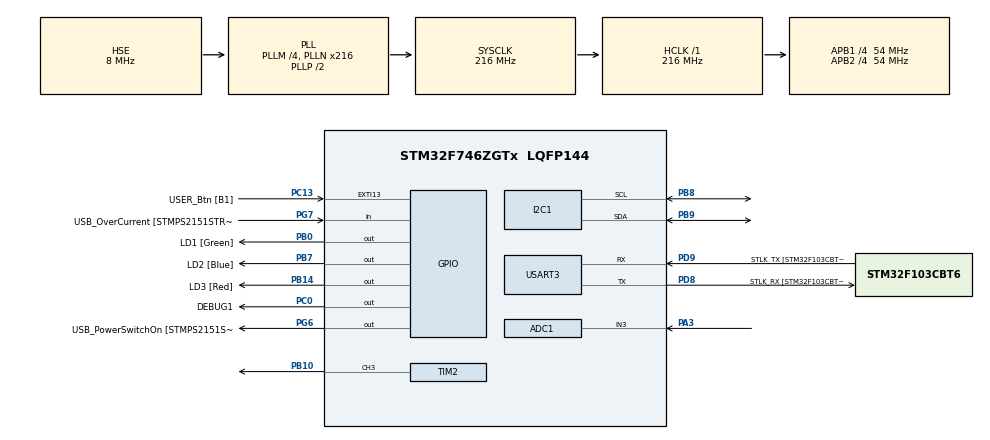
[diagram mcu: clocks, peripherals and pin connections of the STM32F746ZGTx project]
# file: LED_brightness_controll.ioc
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ADC1.Channel-0\#ChannelRegularConversion=ADC_CHANNEL_3
ADC1.NbrOfConversionFlag=1
ADC1.Rank-0\#ChannelRegularConversion=1
ADC1.SamplingTime-0\#ChannelRegularConversion=ADC_SAMPLETIME_480CYCLES
ADC1.master=1
Dma.Request0=USART3_TX
Dma.USART3_TX.0.Direction=DMA_MEMORY_TO_PERIPH
Dma.USART3_TX.0.FIFOMode=DMA_FIFOMODE_DISABLE
Dma.USART3_TX.0.Instance=DMA1_Stream3
Dma.USART3_TX.0.MemDataAlignment=DMA_MDATAALIGN_BYTE
Dma.USART3_TX.0.MemInc=DMA_MINC_ENABLE
Dma.USART3_TX.0.Mode=DMA_NORMAL
Dma.USART3_TX.0.PeriphDataAlignment=DMA_PDATAALIGN_BYTE
Dma.USART3_TX.0.PeriphInc=DMA_PINC_DISABLE
Dma.USART3_TX.0.Priority=DMA_PRIORITY_LOW
I2C1.Timing=0x20404768
Mcu.Family=STM32F7
Mcu.Name=STM32F746ZGTx
Mcu.Package=LQFP144
NVIC.ADC_IRQn=true\:0\:0\:false\:false\:true\:true\:true\:true
NVIC.DMA1_Stream3_IRQn=true\:0\:0\:false\:false\:true\:false\:true\:true
NVIC.PriorityGroup=NVIC_PRIORITYGROUP_4
NVIC.TIM2_IRQn=true\:0\:0\:false\:false\:true\:true\:true\:true
NVIC.USART3_IRQn=true\:0\:0\:false\:false\:true\:true\:true\:true
PA1.GPIO_Label=RMII_REF_CLK [LAN8742A-CZ-TR_REFCLK0]
PA1.Signal=ETH_REF_CLK
PA10.GPIO_Label=USB_ID
PA10.Signal=USB_OTG_FS_ID
PA11.GPIO_Label=USB_DM
PA11.Signal=USB_OTG_FS_DM
PA12.GPIO_Label=USB_DP
PA12.Signal=USB_OTG_FS_DP
PA13.GPIO_Label=TMS
PA13.Mode=Serial_Wire
PA13.Signal=SYS_JTMS-SWDIO
PA14.GPIO_Label=TCK
PA14.Mode=Serial_Wire
PA14.Signal=SYS_JTCK-SWCLK
PA2.GPIO_Label=RMII_MDIO [LAN8742A-CZ-TR_MDIO]
PA2.Signal=ETH_MDIO
PA3.Signal=ADCx_IN3
PA7.GPIO_Label=RMII_CRS_DV [LAN8742A-CZ-TR_CRS_DV]
PA7.Signal=ETH_CRS_DV
PA8.GPIO_Label=USB_SOF [TP1]
PA8.Signal=USB_OTG_FS_SOF
PA9.GPIO_Label=USB_VBUS
PA9.Signal=USB_OTG_FS_VBUS
PB0.GPIO_Label=LD1 [Green]
PB0.Signal=GPIO_Output
PB10.Signal=S_TIM2_CH3
PB13.GPIO_Label=RMII_TXD1 [LAN8742A-CZ-TR_TXD1]
PB13.Signal=ETH_TXD1
PB14.GPIO_Label=LD3 [Red]
PB14.Signal=GPIO_Output
PB3.GPIO_Label=SW0
PB3.Signal=SYS_JTDO-SWO
PB7.GPIO_Label=LD2 [Blue]
PB7.Signal=GPIO_Output
PB8.Mode=I2C
PB8.Signal=I2C1_SCL
PB9.Mode=I2C
PB9.Signal=I2C1_SDA
PC0.GPIO_Label=DEBUG1
PC0.GPIO_Speed=GPIO_SPEED_FREQ_VERY_HIGH
PC0.Signal=GPIO_Output
PC1.GPIO_Label=RMII_MDC [LAN8742A-CZ-TR_MDC]
PC1.Signal=ETH_MDC
PC13.GPIO_Label=USER_Btn [B1]
PC13.Signal=GPXTI13
PC14/OSC32_IN.Mode=LSE-External-Oscillator
PC14/OSC32_IN.Signal=RCC_OSC32_IN
PC15/OSC32_OUT.Mode=LSE-External-Oscillator
PC15/OSC32_OUT.Signal=RCC_OSC32_OUT
PC4.GPIO_Label=RMII_RXD0 [LAN8742A-CZ-TR_RXD0]
PC4.Signal=ETH_RXD0
PC5.GPIO_Label=RMII_RXD1 [LAN8742A-CZ-TR_RXD1]
PC5.Signal=ETH_RXD1
PD8.GPIO_Label=STLK_RX [STM32F103CBT6_PA3]
PD8.GPIO_PuPd=GPIO_PULLUP
PD8.Mode=Asynchronous
PD8.Signal=USART3_TX
PD9.GPIO_Label=STLK_TX [STM32F103CBT6_PA2]
PD9.GPIO_PuPd=GPIO_PULLUP
PD9.Mode=Asynchronous
PD9.Signal=USART3_RX
PG11.GPIO_Label=RMII_TX_EN [LAN8742A-CZ-TR_TXEN]
PG11.Signal=ETH_TX_EN
PG13.GPIO_Label=RMII_TXD0 [LAN8742A-CZ-TR_TXD0]
PG13.Signal=ETH_TXD0
PG6.GPIO_Label=USB_PowerSwitchOn [STMPS2151STR_EN]
PG6.Signal=GPIO_Output
PG7.GPIO_Label=USB_OverCurrent [STMPS2151STR_FAULT]
PG7.Signal=GPIO_Input
PH0/OSC_IN.GPIO_Label=MCO [STM32F103CBT6_PA8]
PH0/OSC_IN.Mode=HSE-External-Clock-Source
PH0/OSC_IN.Signal=RCC_OSC_IN
PH1/OSC_OUT.Mode=HSE-External-Clock-Source
PH1/OSC_OUT.Signal=RCC_OSC_OUT
ProjectManager.HeapSize=0x200
ProjectManager.StackSize=0x400
ProjectManager.TargetToolchain=STM32CubeIDE
RCC.48MHZClocksFreq_Value=24000000
RCC.AHBFreq_Value=216000000
RCC.APB1CLKDivider=RCC_HCLK_DIV4
RCC.APB1Freq_Value=54000000
RCC.APB1TimFreq_Value=108000000
RCC.APB2CLKDivider=RCC_HCLK_DIV4
RCC.APB2Freq_Value=54000000
RCC.APB2TimFreq_Value=108000000
RCC.CortexFreq_Value=216000000
RCC.HCLKFreq_Value=216000000
RCC.HSE_VALUE=8000000
RCC.HSI_VALUE=16000000
RCC.PLLM=4
RCC.PLLMUL=RCC_PLL_MUL9
RCC.PLLN=216
RCC.PLLQ=3
RCC.PLLSourceVirtual=RCC_PLLSOURCE_HSE
RCC.PRESCALERUSB=RCC_USBCLKSOURCE_PLL_DIV1_5
RCC.SYSCLKFreq_VALUE=216000000
RCC.SYSCLKSource=RCC_SYSCLKSOURCE_PLLCLK
RCC.SYSCLKSourceVirtual=RCC_SYSCLKSOURCE_PLLCLK
RCC.USBFreq_Value=144000000
RCC.VCOOutputFreq_Value=432000000
SH.ADCx_IN3.0=ADC1_IN3,IN3
SH.S_TIM2_CH3.0=TIM2_CH3,PWM Generation3 CH3
TIM2.Channel-PWM\ Generation3\ CH3=TIM_CHANNEL_3
TIM2.OCPolarity_3=TIM_OCPOLARITY_LOW
TIM2.Period=1000-1
TIM2.Prescaler=(108/9)-1
TIM2.Pulse-PWM\ Generation3\ CH3=500
USART3.VirtualMode-Asynchronous=VM_ASYNC
board=NUCLEO-F746ZG

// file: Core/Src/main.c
/* USER CODE BEGIN Header */
/**
  ******************************************************************************
  * @file           : main.c
  * @brief          : Main program body - ULTRA STABLE (PI + UART 0..900)
  ******************************************************************************
  */
/* USER CODE END Header */
#include "main.h"
#include "adc.h"
#include "dma.h"
#include "i2c.h"
#include "tim.h"
#include "usart.h"
#include "gpio.h"

/* USER CODE BEGIN Includes */
#include <stdio.h>
#include <string.h>
#include "led_config.h"
#include "aio.h"
#include "bh1750_config.h"
/* USER CODE END Includes */

/* USER CODE BEGIN PTD */
typedef struct {
  float measurement;
  float reference;
  float control;
} SWV_TypeDef;

/* ==== PI Controller (instead of PID) ==== */
typedef struct {
  float kp;
  float ki;
  float Ts;
  float integrator;
  float out_min;
  float out_max;
} PI_Controller_t;
/* USER CODE END PTD */

/* USER CODE BEGIN PD */
#define CLOSED_LOOP

#define CNT_MAX 900
#define DUTY_FILTER_ALPHA 0.1f
#define MAX_DUTY_CHANGE 5.0f

/* ===== LUX RANGE ===== */
#define LUX_MAX 900

/* ===== PI Gains ===== */
#define PI_KP   0.7f
#define PI_KI   0.6f

/* Control loop Ts (assuming ~9kHz) */
#define CONTROL_TS  (1.0f / 9000.0f)
/* USER CODE END PD */

/* USER CODE BEGIN PV */
uint8_t rx_buffer[1];
uint8_t cmd_buffer[32];
uint8_t cmd_idx = 0;
_Bool waiting_for_value = 0;

float duty = 0.0f;
float duty_filtered = 0.0f;
float luminance = 0.0f;
float luminance_ref = 0.0f;

uint32_t cnt = 0;
const uint32_t cnt_dec = 10;
SWV_TypeDef swv;

uint32_t sensor_read_counter = 0;
const uint32_t sensor_read_period = 100;

#ifdef CNT_MAX
uint8_t txBuffer[2][CNT_MAX * sizeof(swv)];
_Bool txActiveBuffer = 0;
_Bool txFlag = 0;
#endif

PI_Controller_t hpi1;
/* USER CODE END PV */

void SystemClock_Config(void);
/* USER CODE BEGIN PFP */
void process_uart_command(uint8_t c);

static void PI_Init(PI_Controller_t *pi, float kp, float ki, float Ts, float out_min, float out_max);
static float PI_Update(PI_Controller_t *pi, float ref, float meas);
/* USER CODE END PFP */

/* USER CODE BEGIN 0 */

static void PI_Init(PI_Controller_t *pi, float kp, float ki, float Ts, float out_min, float out_max)
{
  pi->kp = kp;
  pi->ki = ki;
  pi->Ts = Ts;
  pi->integrator = 0.0f;
  pi->out_min = out_min;
  pi->out_max = out_max;
}

static float PI_Update(PI_Controller_t *pi, float ref, float meas)
{
  float error = ref - meas;

  pi->integrator += (pi->ki * pi->Ts * error);

  float out = (pi->kp * error) + pi->integrator;

  if(out > pi->out_max) {
    out = pi->out_max;
    if(pi->integrator > pi->out_max) pi->integrator = pi->out_max;
  }
  else if(out < pi->out_min) {
    out = pi->out_min;
    if(pi->integrator < pi->out_min) pi->integrator = pi->out_min;
  }

  return out;
}

void HAL_UART_RxCpltCallback(UART_HandleTypeDef *huart)
{
  if(huart == &huart3)
  {
    process_uart_command(rx_buffer[0]);
    HAL_UART_Receive_IT(&huart3, rx_buffer, 1);
  }
}

void process_uart_command(uint8_t c)
{
  if(waiting_for_value)
  {
    if(c >= '0' && c <= '9')
    {
      if(cmd_idx < 3)   // still 3 digits
      {
        cmd_buffer[cmd_idx++] = c;
        HAL_UART_Transmit(&huart3, &c, 1, 100);

        if(cmd_idx == 3)
        {
          cmd_buffer[3] = '\0';
          int value = 0;
          sscanf((char*)cmd_buffer, "%d", &value);

          if(value >= 0 && value <= LUX_MAX)
          {
            luminance_ref = (float)value;

            uint8_t ack[32];
            int len = sprintf((char*)ack, " -> Lux set to %d\r\n", value);
            HAL_UART_Transmit(&huart3, ack, len, 100);
          }
          else
          {
            uint8_t error[64];
            int len = sprintf((char*)error, " -> ERROR: Range 000-%03d\r\n", LUX_MAX);
            HAL_UART_Transmit(&huart3, error, len, 100);
          }

          waiting_for_value = 0;
          cmd_idx = 0;
        }
      }
    }
    else if(c == 27 || c == '\b' || c == 127)
    {
      waiting_for_value = 0;
      cmd_idx = 0;
      uint8_t cancel[] = "\r\nCancelled\r\n";
      HAL_UART_Transmit(&huart3, cancel, strlen((char*)cancel), 100);
    }
  }
  else if(c == 'R' || c == 'r')
  {
    waiting_for_value = 1;
    cmd_idx = 0;
    uint8_t prompt[64];
    int len = sprintf((char*)prompt, "Enter lux (000-%03d): ", LUX_MAX);
    HAL_UART_Transmit(&huart3, prompt, len, 100);
  }
  else if(c == '?' || c == 's' || c == 'S')
  {
    uint8_t tx_buffer[128];
    int resp_len = sprintf((char*)tx_buffer, "L:%.1f Lref:%.1f D:%.1f%% Err:%.1f\r\n",
                          luminance, luminance_ref, duty_filtered, luminance_ref - luminance);
    HAL_UART_Transmit(&huart3, tx_buffer, resp_len, 100);
  }
  else if(c == '\r' || c == '\n')
  {
    // Ignore
  }
}

void HAL_TIM_PeriodElapsedCallback(TIM_HandleTypeDef *htim)
{
  if(htim == &htim2)
  {
    HAL_GPIO_WritePin(DEBUG1_GPIO_Port, DEBUG1_Pin, GPIO_PIN_SET);
    HAL_ADC_Start_IT(&hadc1);
  }
}

void HAL_ADC_ConvCpltCallback(ADC_HandleTypeDef* hadc)
{
  if(hadc == &hadc1)
  {
    sensor_read_counter++;
    if(sensor_read_counter >= sensor_read_period)
    {
      sensor_read_counter = 0;
      luminance = BH1750_ReadIlluminance_lux(&hbh1750);
    }

#ifdef CLOSED_LOOP
    if(luminance_ref > 0.0f)
    {
      float duty_pi = PI_Update(&hpi1, luminance_ref, luminance);

      if(duty_pi < 0.0f) duty_pi = 0.0f;
      else if(duty_pi > 100.0f) duty_pi = 100.0f;

      float duty_change = duty_pi - duty_filtered;
      if(duty_change > MAX_DUTY_CHANGE) duty_change = MAX_DUTY_CHANGE;
      else if(duty_change < -MAX_DUTY_CHANGE) duty_change = -MAX_DUTY_CHANGE;

      duty_filtered = duty_filtered + DUTY_FILTER_ALPHA * duty_change;

      if(duty_filtered < 0.0f) duty_filtered = 0.0f;
      else if(duty_filtered > 100.0f) duty_filtered = 100.0f;

      duty = duty_filtered;
      LED_PWM_WriteDuty(&hld1, duty);
    }
    else
    {
      duty_filtered -= DUTY_FILTER_ALPHA * duty_filtered;
      if(duty_filtered < 0.5f) duty_filtered = 0.0f;

      duty = duty_filtered;
      LED_PWM_WriteDuty(&hld1, duty);
    }
#endif

    HAL_GPIO_WritePin(DEBUG1_GPIO_Port, DEBUG1_Pin, GPIO_PIN_RESET);

    if(cnt % cnt_dec == 0)
    {
      swv.measurement = luminance;
      swv.reference = luminance_ref;
      swv.control = duty;

#ifdef CNT_MAX
      memcpy(&txBuffer[txActiveBuffer][(cnt / cnt_dec) * sizeof(swv)], &swv, sizeof(swv));
#endif
    }

#ifdef CNT_MAX
    cnt = (cnt < cnt_dec * CNT_MAX - 1) ? (cnt + 1) : 0;
#else
    cnt++;
#endif
  }
}

/* USER CODE END 0 */

int main(void)
{
  HAL_Init();
  SystemClock_Config();

  MX_GPIO_Init();
  MX_DMA_Init();
  MX_USART3_UART_Init();
  MX_TIM2_Init();
  MX_ADC1_Init();
  MX_I2C1_Init();

  /* USER CODE BEGIN 2 */

  BH1750_Init(&hbh1750);
  LED_PWM_Init(&hld1);

  PI_Init(&hpi1, PI_KP, PI_KI, CONTROL_TS, 0.0f, 100.0f);

  HAL_UART_Receive_IT(&huart3, rx_buffer, 1);

  luminance = BH1750_ReadIlluminance_lux(&hbh1750);

  HAL_TIM_Base_Start_IT(&htim2);

  uint8_t msg[] =
      "\r\n*** LED BRIGHTNESS CONTROL ***\r\n"
      "Press R to set lux (000-900)\r\n"
      "Press S for status\r\n";
  HAL_UART_Transmit(&huart3, msg, strlen((char*)msg), 1000);

  /* USER CODE END 2 */

  while (1)
  {
    HAL_Delay(100);
  }
}

/* Clock + Error_Handler  */
void SystemClock_Config(void)
{
  RCC_OscInitTypeDef RCC_OscInitStruct = {0};
  RCC_ClkInitTypeDef RCC_ClkInitStruct = {0};

  HAL_PWR_EnableBkUpAccess();
  __HAL_RCC_PWR_CLK_ENABLE();
  __HAL_PWR_VOLTAGESCALING_CONFIG(PWR_REGULATOR_VOLTAGE_SCALE1);

  RCC_OscInitStruct.OscillatorType = RCC_OSCILLATORTYPE_HSE;
  RCC_OscInitStruct.HSEState = RCC_HSE_BYPASS;
  RCC_OscInitStruct.PLL.PLLState = RCC_PLL_ON;
  RCC_OscInitStruct.PLL.PLLSource = RCC_PLLSOURCE_HSE;
  RCC_OscInitStruct.PLL.PLLM = 4;
  RCC_OscInitStruct.PLL.PLLN = 216;
  RCC_OscInitStruct.PLL.PLLP = RCC_PLLP_DIV2;
  RCC_OscInitStruct.PLL.PLLQ = 3;
  if (HAL_RCC_OscConfig(&RCC_OscInitStruct) != HAL_OK) { Error_Handler(); }

  if (HAL_PWREx_EnableOverDrive() != HAL_OK) { Error_Handler(); }

  RCC_ClkInitStruct.ClockType = RCC_CLOCKTYPE_HCLK|RCC_CLOCKTYPE_SYSCLK
                              |RCC_CLOCKTYPE_PCLK1|RCC_CLOCKTYPE_PCLK2;
  RCC_ClkInitStruct.SYSCLKSource = RCC_SYSCLKSOURCE_PLLCLK;
  RCC_ClkInitStruct.AHBCLKDivider = RCC_SYSCLK_DIV1;
  RCC_ClkInitStruct.APB1CLKDivider = RCC_HCLK_DIV4;
  RCC_ClkInitStruct.APB2CLKDivider = RCC_HCLK_DIV4;

  if (HAL_RCC_ClockConfig(&RCC_ClkInitStruct, FLASH_LATENCY_7) != HAL_OK) { Error_Handler(); }
}

void Error_Handler(void)
{
  __disable_irq();
  while (1) {}
}
